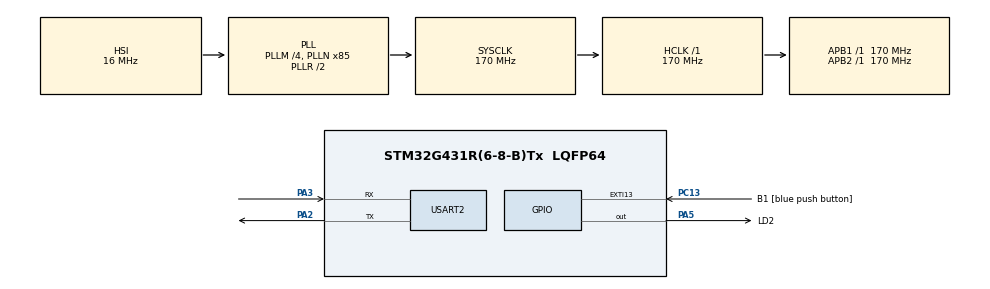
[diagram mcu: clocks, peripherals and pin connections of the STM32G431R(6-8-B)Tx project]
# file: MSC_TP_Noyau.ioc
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FREERTOS.MEMORY_ALLOCATION=2
FREERTOS.Tasks01=defaultTask,0,128,StartDefaultTask,Default,NULL,Dynamic,NULL,NULL
FREERTOS.configTOTAL_HEAP_SIZE=20000
Mcu.Family=STM32G4
Mcu.Name=STM32G431R(6-8-B)Tx
Mcu.Package=LQFP64
NVIC.EXTI15_10_IRQn=true\:5\:0\:false\:false\:true\:true\:true\:true\:true
NVIC.PriorityGroup=NVIC_PRIORITYGROUP_4
NVIC.USART2_IRQn=true\:5\:0\:false\:false\:true\:true\:true\:true\:true
PA13.GPIO_Label=T_SWDIO
PA13.Signal=SYS_JTMS-SWDIO
PA14.GPIO_Label=T_SWCLK
PA14.Signal=SYS_JTCK-SWCLK
PA2.Mode=Asynchronous
PA2.Signal=USART2_TX
PA3.Mode=Asynchronous
PA3.Signal=USART2_RX
PA5.GPIO_Label=LD2
PA5.Signal=GPIO_Output
PB3.GPIO_Label=T_SWO
PB3.Signal=SYS_JTDO-SWO
PC13.GPIO_Label=B1 [blue push button]
PC13.Signal=GPXTI13
PC14-OSC32_IN.GPIO_Label=RCC_OSC32_OUT
PC14-OSC32_IN.Signal=RCC_OSC32_IN
PC15-OSC32_OUT.GPIO_Label=RCC_OSC32_OUT
PC15-OSC32_OUT.Signal=RCC_OSC32_OUT
PF0-OSC_IN.GPIO_Label=RCC_OSC_IN
PF0-OSC_IN.Signal=RCC_OSC_IN
PF1-OSC_OUT.GPIO_Label=RCC_OSC_OUT
PF1-OSC_OUT.Signal=RCC_OSC_OUT
ProjectManager.HeapSize=0x200
ProjectManager.StackSize=0x400
ProjectManager.TargetToolchain=STM32CubeIDE
RCC.ADC12Freq_Value=170000000
RCC.AHBFreq_Value=170000000
RCC.APB1Freq_Value=170000000
RCC.APB1TimFreq_Value=170000000
RCC.APB2Freq_Value=170000000
RCC.APB2TimFreq_Value=170000000
RCC.CortexFreq_Value=170000000
RCC.EXTERNAL_CLOCK_VALUE=12288000
RCC.HCLKFreq_Value=170000000
RCC.HSE_VALUE=24000000
RCC.HSI48_VALUE=48000000
RCC.HSI_VALUE=16000000
RCC.LSE_VALUE=32768
RCC.PLLM=RCC_PLLM_DIV4
RCC.PLLN=85
RCC.RTCClockSelection=RCC_RTCCLKSOURCE_LSE
RCC.SYSCLKFreq_VALUE=170000000
RCC.SYSCLKSource=RCC_SYSCLKSOURCE_PLLCLK
RCC.USBFreq_Value=170000000
RCC.VCOOutputFreq_Value=340000000
USART2.VirtualMode-Asynchronous=VM_ASYNC
VP_FREERTOS_VS_CMSIS_V1.Mode=CMSIS_V1
VP_SYS_VS_DBSignals.Mode=DisableDeadBatterySignals
board=NUCLEO-G431RB

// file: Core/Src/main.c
/* USER CODE BEGIN Header */
/**
 ******************************************************************************
 * @file           : main.c
 * @brief          : Main program body
 ******************************************************************************
 * @attention
 *
 * Copyright (c) 2025 STMicroelectronics.
 * All rights reserved.
 *
 * This software is licensed under terms that can be found in the LICENSE file
 * in the root directory of this software component.
 * If no LICENSE file comes with this software, it is provided AS-IS.
 *
 ******************************************************************************
 */
/* USER CODE END Header */
#include "main.h"
#include "cmsis_os.h"
#include "usart.h"
#include "gpio.h"

/* USER CODE BEGIN Includes */
#include "Shell.h"

/* USER CODE END Includes */

/* USER CODE BEGIN PD */
#define STACK_SIZE 256
#define TASK1_PRIORITY 1
#define TASK2_PRIORITY 2
#define TASK1_DELAY 1
#define TASK2_DELAY 2
#define TaskGT_iter_max 15
/* USER CODE END PD */

/* USER CODE BEGIN PV */

BaseType_t ret ;
SemaphoreHandle_t Task_bug_mutex;
QueueHandle_t TaskGT_queue;

/* USER CODE END PV */

void SystemClock_Config(void);
void MX_FREERTOS_Init(void);

int main(void)
{

	/* MCU Configuration--------------------------------------------------------*/

	/* Reset of all peripherals, Initializes the Flash interface and the Systick. */
	HAL_Init();

	/* Configure the system clock */
	SystemClock_Config();

	/* Initialize all configured peripherals */
	MX_GPIO_Init();
	MX_USART2_UART_Init();
	/* USER CODE BEGIN 2 */

	printf("\r\n ** INTRO_RTOS ** \r\n");

	TaskGT_queue = xQueueCreate(TaskGT_iter_max, sizeof(uint32_t));

	if (TaskGT_queue == NULL) {
		// Erreur : pas assez de mémoire heap
		printf("Error creating Queue !\r\n");
		printf("Performing software reset...\r\n");
		NVIC_SystemReset();
	}

	//sem_task = xSemaphoreCreateBinary();
/*
	if(xTaskCreate(task_ToggleLED, "ToggleLED", 256, NULL, 3 , &h_task_ToggleLED) != pdPASS){
		printf("Error creating task \r\n");
		Error_Handler();
	}*/

/*
	if( pdPASS != xTaskCreate(taskGive, "taskGive", 256, NULL, 1, NULL)){
		printf("error creating task Give \r\n");
		Error_Handler();
	}

	if( pdPASS != xTaskCreate(taskTake, "taskTake", 256, NULL, 2, &HandleTaskTake)){
		printf("error creating task Take \r\n");
		Error_Handler();
	}*/

	if (pdPASS != xTaskCreate(task_shell, "shell", 512, NULL, 1, NULL))
	{
		printf("error creating task Take \r\n");
		Error_Handler();
	}

	Task_bug_mutex = xSemaphoreCreateMutex();
	/*ret = xTaskCreate(task_bug, "Tache 1", STACK_SIZE, (void *) TASK1_DELAY, TASK1_PRIORITY, NULL);
	configASSERT(pdPASS == ret);
	ret = xTaskCreate(task_bug, "Tache 2", STACK_SIZE, (void *) TASK2_DELAY, TASK2_PRIORITY, NULL);
	configASSERT(pdPASS == ret);*/

	vTaskStartScheduler();

	/* USER CODE END 2 */

	/* Call init function for freertos objects (in cmsis_os2.c) */
	MX_FREERTOS_Init();

	/* Start scheduler */
	osKernelStart();

	/* We should never get here as control is now taken by the scheduler */

	/* Infinite loop */
	/* USER CODE BEGIN WHILE */
	while (1)
	{
		//ToggleLED();
		/* USER CODE END WHILE */

	}
}

void SystemClock_Config(void)
{
	RCC_OscInitTypeDef RCC_OscInitStruct = {0};
	RCC_ClkInitTypeDef RCC_ClkInitStruct = {0};

	/** Configure the main internal regulator output voltage
	 */
	HAL_PWREx_ControlVoltageScaling(PWR_REGULATOR_VOLTAGE_SCALE1_BOOST);

	/** Initializes the RCC Oscillators according to the specified parameters
	 * in the RCC_OscInitTypeDef structure.
	 */
	RCC_OscInitStruct.OscillatorType = RCC_OSCILLATORTYPE_HSI;
	RCC_OscInitStruct.HSIState = RCC_HSI_ON;
	RCC_OscInitStruct.HSICalibrationValue = RCC_HSICALIBRATION_DEFAULT;
	RCC_OscInitStruct.PLL.PLLState = RCC_PLL_ON;
	RCC_OscInitStruct.PLL.PLLSource = RCC_PLLSOURCE_HSI;
	RCC_OscInitStruct.PLL.PLLM = RCC_PLLM_DIV4;
	RCC_OscInitStruct.PLL.PLLN = 85;
	RCC_OscInitStruct.PLL.PLLP = RCC_PLLP_DIV2;
	RCC_OscInitStruct.PLL.PLLQ = RCC_PLLQ_DIV2;
	RCC_OscInitStruct.PLL.PLLR = RCC_PLLR_DIV2;
	if (HAL_RCC_OscConfig(&RCC_OscInitStruct) != HAL_OK)
	{
		Error_Handler();
	}

	/** Initializes the CPU, AHB and APB buses clocks
	 */
	RCC_ClkInitStruct.ClockType = RCC_CLOCKTYPE_HCLK|RCC_CLOCKTYPE_SYSCLK
			|RCC_CLOCKTYPE_PCLK1|RCC_CLOCKTYPE_PCLK2;
	RCC_ClkInitStruct.SYSCLKSource = RCC_SYSCLKSOURCE_PLLCLK;
	RCC_ClkInitStruct.AHBCLKDivider = RCC_SYSCLK_DIV1;
	RCC_ClkInitStruct.APB1CLKDivider = RCC_HCLK_DIV1;
	RCC_ClkInitStruct.APB2CLKDivider = RCC_HCLK_DIV1;

	if (HAL_RCC_ClockConfig(&RCC_ClkInitStruct, FLASH_LATENCY_4) != HAL_OK)
	{
		Error_Handler();
	}
}

void Error_Handler(void)
{
	__disable_irq();
	while (1)
	{
	}
}
